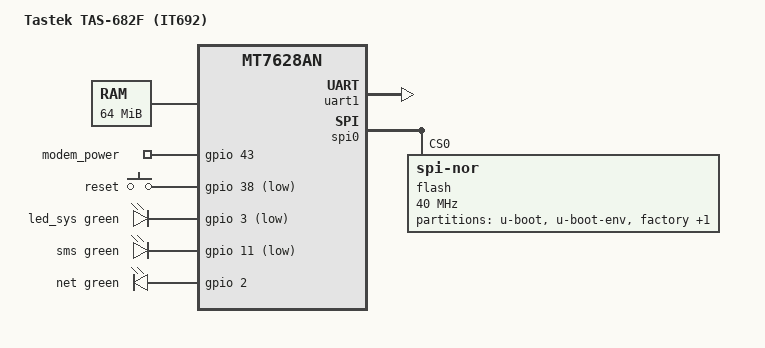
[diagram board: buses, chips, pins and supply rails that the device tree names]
// SPDX-License-Identifier: GPL-2.0-or-later OR MIT

#include "mt7628an.dtsi"

#include <dt-bindings/gpio/gpio.h>
#include <dt-bindings/input/input.h>
#include <dt-bindings/leds/common.h>

/ {
	compatible = "tastek,it692", "mediatek,mt7628an-soc";
	model = "Tastek TAS-682F (IT692)";

	aliases {
		led-boot = &led_sys;
		led-failsafe = &led_sys;
		led-running = &led_sys;
		led-upgrade = &led_sys;
	};

	chosen {
		bootargs = "console=ttyS0,57600";
	};

	memory@0 {
		device_type = "memory";
		reg = <0x0 0x4000000>;
	};

	gpio-export {
		compatible = "gpio-export";

		modem-power {
			gpio-export,name = "modem_power";
			gpio-export,output = <1>;
			gpios = <&gpio 43 GPIO_ACTIVE_HIGH>;
		};
	};

	keys {
		compatible = "gpio-keys";

		reset {
			label = "reset";
			gpios = <&gpio 38 GPIO_ACTIVE_LOW>;
			linux,code = <KEY_RESTART>;
		};
	};

	leds {
		compatible = "gpio-leds";

		led_sys: sys {
			color = <LED_COLOR_ID_GREEN>;
			function = LED_FUNCTION_STATUS;
			gpios = <&gpio 3 GPIO_ACTIVE_LOW>;
		};

		sms {
			color = <LED_COLOR_ID_GREEN>;
			function = "sms";
			gpios = <&gpio 11 GPIO_ACTIVE_LOW>;
		};

		net {
			color = <LED_COLOR_ID_GREEN>;
			function = LED_FUNCTION_WAN_ONLINE;
			gpios = <&gpio 2 GPIO_ACTIVE_HIGH>;
		};
	};
};

&state_default {
	gpio {
		groups = "gpio", "i2c", "i2s", "refclk", "wdt", "wled_an";
		function = "gpio";
	};
};

&uart1 {
	status = "okay";
};

&spi0 {
	status = "okay";

	flash@0 {
		compatible = "jedec,spi-nor";
		reg = <0>;
		spi-max-frequency = <40000000>;

		partitions {
			compatible = "fixed-partitions";
			#address-cells = <1>;
			#size-cells = <1>;

			partition@0 {
				label = "u-boot";
				reg = <0x0 0x30000>;
				read-only;
			};

			partition@30000 {
				label = "u-boot-env";
				reg = <0x30000 0x10000>;
				read-only;
			};

			factory: partition@40000 {
				label = "factory";
				reg = <0x40000 0x10000>;
				read-only;

				nvmem-layout {
					compatible = "fixed-layout";
					#address-cells = <1>;
					#size-cells = <1>;

					macaddr_factory_2e: macaddr@2e {
						reg = <0x2e 0x6>;
					};
				};
			};

			partition@50000 {
				compatible = "denx,uimage";
				label = "firmware";
				reg = <0x50000 0x7b0000>;
			};
		};
	};
};

&ethernet {
	nvmem-cells = <&macaddr_factory_2e>;
	nvmem-cell-names = "mac-address";
};

&esw {
	mediatek,portmap = <0x2f>;
};
